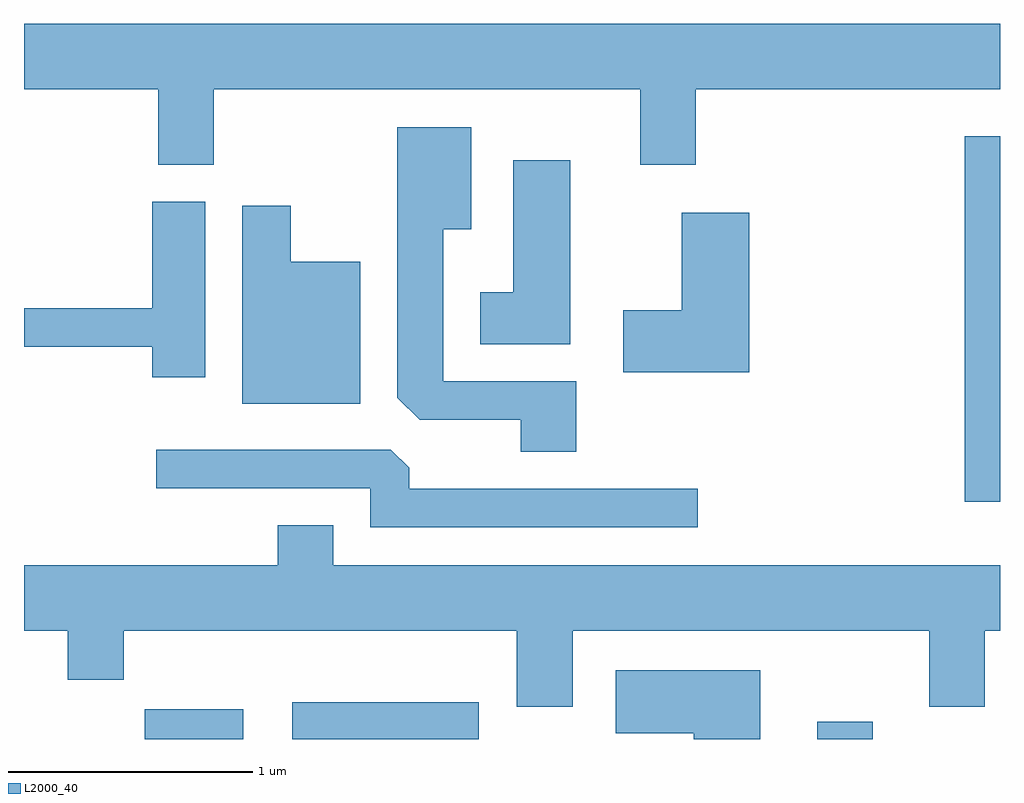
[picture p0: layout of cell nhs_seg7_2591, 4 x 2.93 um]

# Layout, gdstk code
import gdstk
lib = gdstk.Library(unit=1e-6, precision=1e-09)
def R(c, l, rs):  # rectangles x0, y0, x1, y1
    for r in rs: c.add(gdstk.rectangle(r[:2], r[2:], *l))
def P(c, l, *ps):  # polygons
    for p in ps: c.add(gdstk.Polygon(p, *l))
L2000_40 = (2000, 40)

nhs_seg7_2591 = lib.new_cell('nhs_seg7_2591')
R(nhs_seg7_2591, L2000_40, [(264.106,1778.252,264.509,1778.374), (264.711,1778.252,265.474,1778.404), (266.861,1778.252,267.089,1778.324), (267.466,1779.226,267.611,1780.724)])
P(nhs_seg7_2591, L2000_40, [(264.389,1780.916),(266.136,1780.916),(266.136,1780.606),(266.364,1780.606),(266.364,1780.916),(267.611,1780.916),(267.611,1781.184),(263.611,1781.184),(263.611,1780.916),(264.161,1780.916),(264.161,1780.606),(264.389,1780.606)],
  [(265.874,1779.719),(265.329,1779.719),(265.329,1780.341),(265.444,1780.341),(265.444,1780.759),(265.141,1780.759),(265.141,1779.652),(265.232,1779.561),(265.646,1779.561),(265.646,1779.431),(265.874,1779.431)],
  [(265.849,1780.624),(265.616,1780.624),(265.616,1780.084),(265.481,1780.084),(265.481,1779.871),(265.849,1779.871)],
  [(264.354,1780.454),(264.136,1780.454),(264.136,1780.019),(263.611,1780.019),(263.611,1779.861),(264.136,1779.861),(264.136,1779.736),(264.354,1779.736)],
  [(264.989,1780.209),(264.704,1780.209),(264.704,1780.439),(264.506,1780.439),(264.506,1779.626),(264.989,1779.626)],
  [(266.584,1780.409),(266.306,1780.409),(266.306,1780.009),(266.066,1780.009),(266.066,1779.756),(266.584,1779.756)],
  [(266.373,1779.279),(265.189,1779.279),(265.189,1779.364),(265.114,1779.439),(264.153,1779.439),(264.153,1779.281),(265.031,1779.281),(265.031,1779.121),(266.373,1779.121)],
  [(265.859,1778.696),(267.321,1778.696),(267.321,1778.386),(267.549,1778.386),(267.549,1778.696),(267.611,1778.696),(267.611,1778.964),(264.879,1778.964),(264.879,1779.129),(264.651,1779.129),(264.651,1778.964),(263.611,1778.964),(263.611,1778.696),(263.791,1778.696),(263.791,1778.496),(264.019,1778.496),(264.019,1778.696),(265.631,1778.696),(265.631,1778.386),(265.859,1778.386)],
  [(266.629,1778.534),(266.036,1778.534),(266.036,1778.276),(266.356,1778.276),(266.356,1778.252),(266.629,1778.252)])

lib.write_gds('nhs_seg7_2591.gds')
